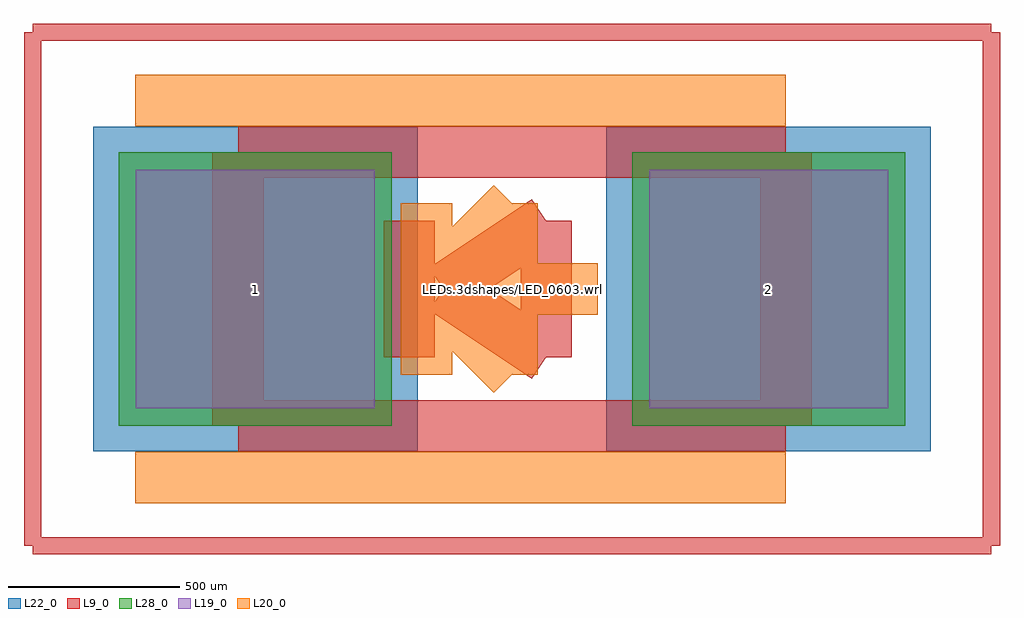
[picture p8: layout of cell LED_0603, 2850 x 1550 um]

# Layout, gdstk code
import gdstk
lib = gdstk.Library(unit=1e-6, precision=1e-09)
def R(c, l, rs):  # rectangles x0, y0, x1, y1
    for r in rs: c.add(gdstk.rectangle(r[:2], r[2:], *l))
L9_0 = (9, 0)
L19_0 = (19, 0)
L20_0 = (20, 0)
L22_0 = (22, 0)
L28_0 = (28, 0)

led_0603 = lib.new_cell('LED_0603')
R(led_0603, L19_0, [(-1098.08,-348.78,-400.52,348.78), (400.52,-348.78,1098.08,348.78)])
R(led_0603, L22_0, [(-1223.08,-473.78,-275.52,473.78), (275.52,-473.78,1223.08,473.78)])
R(led_0603, L28_0, [(-1148.08,-398.78,-350.52,398.78), (350.52,-398.78,1148.08,398.78)])
led_0603.add(gdstk.FlexPath([(-1400,750),(1400,750)], 50, ends="flush", simple_path=True, layer=9, datatype=0))  # L9_0
led_0603.add(gdstk.FlexPath([(-1400,-750),(-1400,750)], 50, ends="flush", simple_path=True, layer=9, datatype=0))  # L9_0
led_0603.add(gdstk.FlexPath([(1400,-750),(-1400,-750)], 50, ends="flush", simple_path=True, layer=9, datatype=0))  # L9_0
led_0603.add(gdstk.FlexPath([(1400,750),(1400,-750)], 50, ends="flush", simple_path=True, layer=9, datatype=0))  # L9_0
led_0603.add(gdstk.FlexPath([(0,-250),(-250,0)], 149.998, ends="flush", simple_path=True, layer=20, datatype=0))  # L20_0
led_0603.add(gdstk.FlexPath([(0,250),(0,-250)], 149.998, ends="flush", simple_path=True, layer=20, datatype=0))  # L20_0
led_0603.add(gdstk.FlexPath([(-250,0),(0,250)], 149.998, ends="flush", simple_path=True, layer=20, datatype=0))  # L20_0
led_0603.add(gdstk.FlexPath([(-250,250),(-250,-250)], 149.998, ends="flush", simple_path=True, layer=20, datatype=0))  # L20_0
led_0603.add(gdstk.FlexPath([(-200,0),(250,0)], 149.998, ends="flush", simple_path=True, layer=20, datatype=0))  # L20_0
led_0603.add(gdstk.FlexPath([(-1100,550),(800,550)], 149.998, ends="flush", simple_path=True, layer=20, datatype=0))  # L20_0
led_0603.add(gdstk.FlexPath([(-1100,-550),(800,-550)], 149.998, ends="flush", simple_path=True, layer=20, datatype=0))  # L20_0
led_0603.add(gdstk.FlexPath([(-800,-400),(-800,400)], 149.998, ends="flush", simple_path=True, layer=9, datatype=0))  # L9_0
led_0603.add(gdstk.FlexPath([(-800,400),(800,400)], 149.998, ends="flush", simple_path=True, layer=9, datatype=0))  # L9_0
led_0603.add(gdstk.FlexPath([(800,400),(800,-400)], 149.998, ends="flush", simple_path=True, layer=9, datatype=0))  # L9_0
led_0603.add(gdstk.FlexPath([(800,-400),(-800,-400)], 149.998, ends="flush", simple_path=True, layer=9, datatype=0))  # L9_0
led_0603.add(gdstk.FlexPath([(100,200),(100,-200)], 149.998, ends="flush", simple_path=True, layer=9, datatype=0))  # L9_0
led_0603.add(gdstk.FlexPath([(100,-200),(-200,0)], 149.998, ends="flush", simple_path=True, layer=9, datatype=0))  # L9_0
led_0603.add(gdstk.FlexPath([(-200,0),(100,200)], 149.998, ends="flush", simple_path=True, layer=9, datatype=0))  # L9_0
led_0603.add(gdstk.FlexPath([(-300,200),(-300,-200)], 149.998, ends="flush", simple_path=True, layer=9, datatype=0))  # L9_0
led_0603.add(gdstk.Label('LEDs.3dshapes/LED_0603.wrl', (0,0), layer=12, texttype=0))
led_0603.add(gdstk.Label('1', (-749.3,0), layer=28, texttype=0))
led_0603.add(gdstk.Label('2', (749.3,0), layer=28, texttype=0))
led_0603.add(gdstk.Label('type', (0,-1500), layer=9, texttype=0))
led_0603.add(gdstk.Label('devicename', (0,1500), layer=9, texttype=0))

lib.write_gds('LED_0603.gds')
